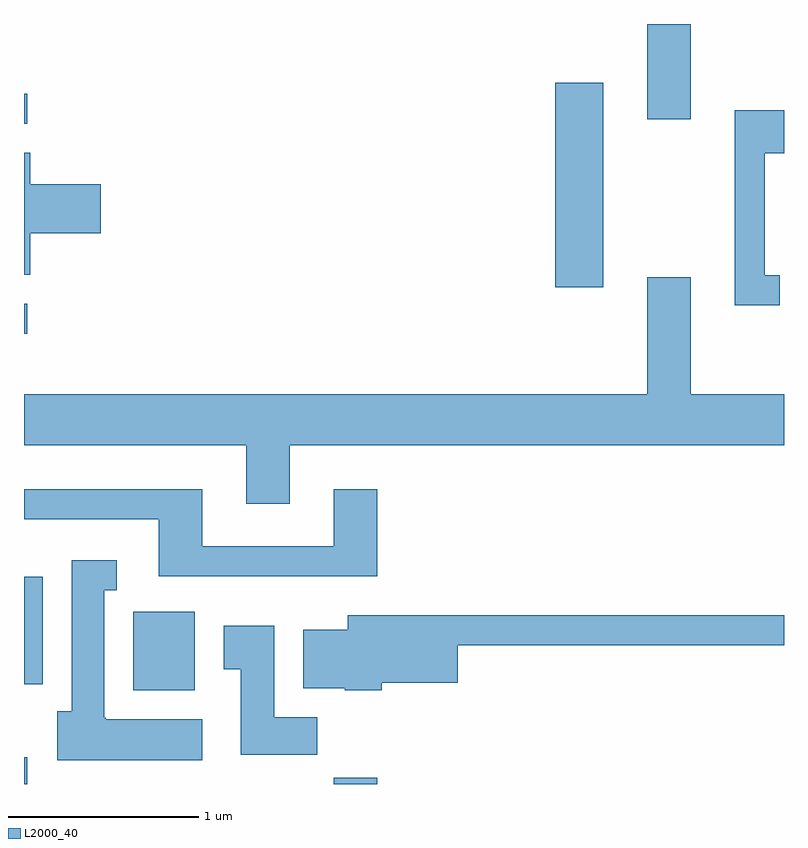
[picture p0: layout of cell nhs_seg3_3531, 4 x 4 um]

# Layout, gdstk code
import gdstk
lib = gdstk.Library(unit=1e-6, precision=1e-09)
def R(c, l, rs):  # rectangles x0, y0, x1, y1
    for r in rs: c.add(gdstk.rectangle(r[:2], r[2:], *l))
def P(c, l, *ps):  # polygons
    for p in ps: c.add(gdstk.Polygon(p, *l))
L2000_40 = (2000, 40)

nhs_seg3_3531 = lib.new_cell('nhs_seg3_3531')
R(nhs_seg3_3531, L2000_40, [(287.611,1241.892,287.629,1242.034), (289.241,1241.892,289.469,1241.924), (288.186,1242.386,288.509,1242.799), (287.611,1242.416,287.709,1242.984), (287.611,1244.261,287.628,1244.419), (290.406,1244.506,290.659,1245.584), (287.611,1245.366,287.628,1245.524), (290.891,1245.391,291.119,1245.892)])
P(nhs_seg3_3531, L2000_40, [(291.588,1244.569),(291.509,1244.569),(291.509,1245.211),(291.611,1245.211),(291.611,1245.439),(291.351,1245.439),(291.351,1244.411),(291.588,1244.411)],
  [(287.644,1244.791),(288.014,1244.791),(288.014,1245.049),(287.644,1245.049),(287.644,1245.214),(287.611,1245.214),(287.611,1244.571),(287.644,1244.571)],
  [(289.009,1243.676),(291.611,1243.676),(291.611,1243.944),(291.119,1243.944),(291.119,1244.559),(290.891,1244.559),(290.891,1243.944),(287.611,1243.944),(287.611,1243.676),(288.781,1243.676),(288.781,1243.366),(289.009,1243.366)],
  [(289.469,1243.444),(289.241,1243.444),(289.241,1243.144),(288.549,1243.144),(288.549,1243.444),(287.611,1243.444),(287.611,1243.286),(288.321,1243.286),(288.321,1242.986),(289.469,1242.986)],
  [(288.549,1242.234),(288.04,1242.234),(288.04,1242.24),(288.034,1242.24),(288.034,1242.911),(288.098,1242.911),(288.098,1243.069),(287.861,1243.069),(287.861,1242.274),(287.786,1242.274),(287.786,1242.016),(288.549,1242.016)],
  [(289.494,1242.426),(289.894,1242.426),(289.894,1242.621),(291.611,1242.621),(291.611,1242.779),(289.316,1242.779),(289.316,1242.704),(289.081,1242.704),(289.081,1242.396),(289.3,1242.396),(289.3,1242.386),(289.494,1242.386)],
  [(289.154,1242.244),(288.929,1242.244),(288.929,1242.724),(288.661,1242.724),(288.661,1242.496),(288.751,1242.496),(288.751,1242.046),(289.154,1242.046)])

lib.write_gds('nhs_seg3_3531.gds')
